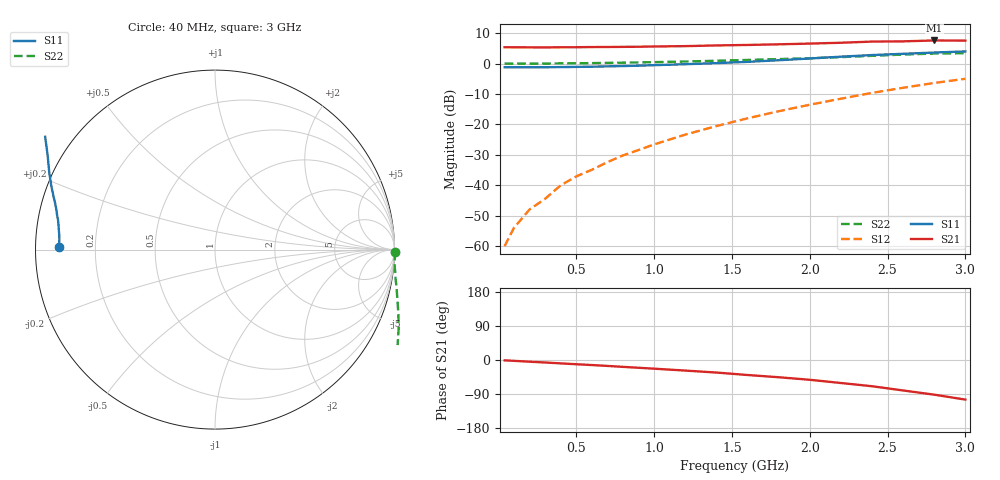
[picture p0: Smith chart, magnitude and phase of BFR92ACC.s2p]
! Filename:  BFR92ACC.S2P  Version:  2.0
! Philips part #: BFR92A  Date: Jul 1990
! Bias condition: Vce=5V, Ic=10mA
! COMMON BASE
#  MHz  S  MA  R  50
! Freq  S11  S21  S12  S22
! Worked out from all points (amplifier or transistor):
!   21 points, 40 MHz to 3 GHz, reference 50 ohm
!   highest |S21| = 7.6 dB at 2.8 GHz (marker M1)
!   |S21| within 3 dB of that: start of sweep to end of sweep
!   unconditionally stable (mu >= 1): nowhere
!   at 300 MHz: K = -0.54, MSG = 24.9 dB, |S12| = -44.4 dB
!   at 1 GHz: K = -0.94, MSG = 16.1 dB, |S12| = -26.6 dB
!   at 3 GHz: K = -0.87, MSG = 6.3 dB, |S12| = -5.0 dB
40  0.87 179.1  1.856 -1.0  0.001 47.7  1.002 -0.7
100  0.869 178.0  1.853 -2.2  0.002 75.1  1.004 -1.4
200  0.869 176.2  1.852 -4.5  0.004 110.8  1.003 -3.0
300  0.872 174.5  1.85 -6.6  0.006 120.0  1.003 -4.6
400  0.877 172.8  1.854 -8.9  0.01 130.5  1.008 -6.1
500  0.883 171.0  1.859 -11.2  0.014 134.7  1.014 -7.6
600  0.89 169.3  1.871 -13.3  0.018 138.8  1.019 -9.2
700  0.901 167.6  1.876 -15.6  0.024 141.3  1.027 -10.7
800  0.912 165.8  1.885 -18.1  0.031 143.2  1.036 -12.3
900  0.925 164.1  1.893 -20.5  0.038 145.2  1.046 -14.1
1000  0.942 162.3  1.912 -22.9  0.047 146.0  1.057 -15.8
1200  0.978 158.8  1.938 -27.9  0.068 146.8  1.083 -19.4
1400  1.019 155.0  1.99 -33.1  0.094 145.9  1.114 -23.3
1600  1.069 150.7  2.026 -39.6  0.126 145.1  1.148 -27.6
1800  1.136 146.4  2.075 -45.5  0.165 142.7  1.186 -32.5
2000  1.214 141.9  2.134 -52.2  0.211 139.7  1.226 -38.3
2200  1.3 137.2  2.202 -60.7  0.265 136.1  1.278 -45.2
2400  1.382 131.7  2.302 -69.2  0.33 131.2  1.342 -52.8
2600  1.45 124.7  2.322 -80.4  0.401 126.0  1.409 -61.2
2800  1.52 116.0  2.402 -91.5  0.481 119.1  1.464 -69.7
3000  1.585 106.6  2.386 -104.5  0.563 112.0  1.483 -79.5
